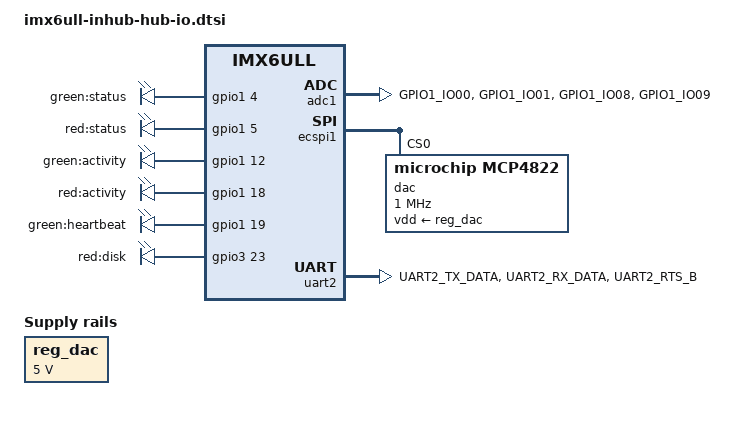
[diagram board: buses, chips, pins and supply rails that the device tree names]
// SPDX-License-Identifier: GPL-2.0-only
/*
 * Copyright 2025 in.hub GmbH
 */

/ {
	leds {
		compatible = "gpio-leds";
		pinctrl-names = "default";
		pinctrl-0 = <&pinctrl_leds>;

		led_green_status: green-status {
			label = "green:status";
			gpios = <&gpio1 4 0x0>;
			default-state = "off";
		};

		led_red_status: red-status {
			label = "red:status";
			gpios = <&gpio1 5 0x0>;
			default-state = "off";
		};

		led_green_activity: green-activity {
			label = "green:activity";
			gpios = <&gpio1 12 0x0>;
			default-state = "off";
		};

		led_red_activity: red-activity {
			label = "red:activity";
			gpios = <&gpio1 18 0x0>;
			default-state = "off";
		};

		led_green_heartbeat: green-heartbeat {
			label = "green:heartbeat";
			gpios = <&gpio1 19 0x0>;
			linux,default-trigger = "timer";
		};

		led_red_disk: red-disk  {
			label = "red:disk";
			gpios = <&gpio3 23 0x0>;
			default-state = "off";
		};
	};

	reg_dac: regulator-dac {
		compatible = "regulator-fixed";
		regulator-name = "dac_vdd";
		regulator-min-microvolt = <5000000>;
		regulator-max-microvolt = <5000000>;
	};
};

&iomuxc {
	pinctrl-0 = <&pinctrl_gpio3 &pinctrl_gpio_dac &pinctrl_gpio_io1 &pinctrl_gpio_io2 &pinctrl_gpio_io3 &pinctrl_gpio_io4 &pinctrl_gpio_io5 &pinctrl_gpio_io6 &pinctrl_gpio_di &pinctrl_bp_ctrl>;

	pinctrl_leds: ledsgrp {
		fsl,pins = <
			MX6UL_PAD_UART1_RTS_B__GPIO1_IO19	0x74 /* SODIMM 27 – LED1G */
			MX6UL_PAD_LCD_DATA18__GPIO3_IO23	0x74 /* SODIMM 29 – LED1R */
			MX6UL_PAD_JTAG_TDO__GPIO1_IO12		0x74 /* SODIMM 23 – LED2G */
			MX6UL_PAD_UART1_CTS_B__GPIO1_IO18	0x74 /* SODIMM 25 – LED2R */
			MX6UL_PAD_GPIO1_IO04__GPIO1_IO04	0x74 /* SODIMM 19 – LED3G */
			MX6UL_PAD_GPIO1_IO05__GPIO1_IO05	0x74 /* SODIMM 21 – LED3R */
		>;
	};

	pinctrl_gpio_io3: io3grp {
		fsl,pins = <
			MX6UL_PAD_LCD_DATA10__GPIO3_IO15	0x1030 /* SODIMM 74 – ACUREN3 */
			MX6UL_PAD_LCD_DATA04__GPIO3_IO09	0xf0b0 /* SODIMM 78 – AFLT3 */
			MX6UL_PAD_CSI_DATA01__GPIO4_IO22	0xf0b0 /* SODIMM 103 – FLT3 */
			MX6UL_PAD_NAND_CE1_B__GPIO4_IO14	0x1030 /* SODIMM 133 – DOUT3 / IN */
			MX6UL_PAD_ENET1_RX_EN__GPIO2_IO02	0x1030 /* SODIMM 178 – DOEN3 / PP */
		>;
	};

	pinctrl_gpio_io4: io4grp {
		fsl,pins = <
			MX6UL_PAD_JTAG_MOD__GPIO1_IO10		0x1030 /* SODIMM 106 – ACUREN4 */
			MX6UL_PAD_LCD_DATA06__GPIO3_IO11	0xf0b0 /* SODIMM 80 – AFLT4 */
			MX6UL_PAD_LCD_DATA15__GPIO3_IO20	 0xf0b0 /* SODIMM 64  – FLT4 */
			MX6UL_PAD_LCD_DATA14__GPIO3_IO19	 0xf0b0 /* SODIMM 66  – DIN4 / DOI_LVL */
			MX6UL_PAD_LCD_HSYNC__GPIO3_IO02		 0x1030 /* SODIMM 68  – PDEN4 / DI_EN */
			MX6UL_PAD_LCD_DATA01__GPIO3_IO06	 0x1030 /* SODIMM 70  – DOUT4 / IN */
			MX6UL_PAD_LCD_DATA05__GPIO3_IO10	 0x1030 /* SODIMM 72  – DOEN4 / PP */
		>;
	};

	pinctrl_gpio_io5: io5grp {
		fsl,pins = <
			MX6UL_PAD_LCD_DATA13__GPIO3_IO18	0xf0b0 /* SODIMM 54 – FLT5 */
			MX6UL_PAD_LCD_CLK__GPIO3_IO00		0xf0b0 /* SODIMM 56 – DIN5 / DOI_LVL */
			MX6UL_PAD_LCD_DATA03__GPIO3_IO08	0x1030 /* SODIMM 58 – PDEN5 / DI_EN */
			MX6UL_PAD_LCD_DATA02__GPIO3_IO07	0x1030 /* SODIMM 60 – DOUT5 / IN */
			MX6UL_PAD_LCD_DATA08__GPIO3_IO13	0x1030 /* SODIMM 62 – DOEN5 / PP */
		>;
	};

	pinctrl_gpio_io6: io6grp {
		fsl,pins = <
			MX6UL_PAD_LCD_ENABLE__GPIO3_IO01	0xf0b0 /* SODIMM 44 – FLT6 */
			MX6UL_PAD_LCD_DATA07__GPIO3_IO12	0xf0b0 /* SODIMM 46 – DIN6 / DOI_LVL */
			MX6UL_PAD_LCD_DATA09__GPIO3_IO14	0x1030 /* SODIMM 48 – PDEN6 / DI_EN */
			MX6UL_PAD_LCD_DATA11__GPIO3_IO16	0x1030 /* SODIMM 50 – DOUT6 / IN */
			MX6UL_PAD_LCD_DATA12__GPIO3_IO17	0x1030 /* SODIMM 52 – DOEN6 / PP */
		>;
	};

	pinctrl_gpio_di: digrp {
		fsl,pins = <
			MX6UL_PAD_LCD_DATA17__GPIO3_IO22		0xf0b0 /* SODIMM 61 – DI1 */
			MX6UL_PAD_ENET1_RX_DATA1__GPIO2_IO01	0xf0b0 /* SODIMM 63 – DI2 */
			MX6UL_PAD_ENET1_TX_CLK__GPIO2_IO06		0xf0b0 /* SODIMM 67 – DI4 */
			MX6UL_PAD_ENET1_RX_DATA0__GPIO2_IO00	0xf0b0 /* SODIMM 55 – DI5 */
		>;
	};

	pinctrl_bp_uart: bpuartgrp {
		fsl,pins = <
			MX6UL_PAD_UART2_TX_DATA__UART2_DTE_RX	0x1b0b1 /* SODIMM 36 / RXBP */
			MX6UL_PAD_UART2_RX_DATA__UART2_DTE_TX	0x1b0b1 /* SODIMM 38 / TXBP */
			MX6UL_PAD_UART2_RTS_B__UART2_DTE_CTS	0x1b0b1 /* SODIMM 34 / RTS */
		>;
	};

	pinctrl_bp_ctrl: bpctrlgrp {
		fsl,pins = <
			MX6UL_PAD_SD1_DATA0__GPIO2_IO18			0x1030 /* SODIMM 192 / ENBP */
			MX6UL_PAD_UART3_RTS_B__GPIO1_IO27		0xf0b0 /* SODIMM 186 / MDBP (module detection) */
		>;
	};

	pinctrl_adc1_nopd: adc1nopdgrp {
		fsl,pins = <
			MX6UL_PAD_GPIO1_IO00__GPIO1_IO00	0x00 /* SODIMM 8 - ADCx_IN0 */
			MX6UL_PAD_GPIO1_IO01__GPIO1_IO01	0x00 /* SODIMM 6 - ADCx_IN1 */
			MX6UL_PAD_GPIO1_IO08__GPIO1_IO08	0x00 /* SODIMM 4 - ADCx_IN8 */
			MX6UL_PAD_GPIO1_IO09__GPIO1_IO09	0x00 /* SODIMM 2 - ADCx_IN9 */
		>;
	};
};

&iomuxc_snvs {
	pinctrl-names = "default";
	pinctrl-0 = <&pinctrl_snvs_gpio_io2 &pinctrl_snvs_gpio_io3 &pinctrl_snvs_gpio_di>;

	/delete-node/ adc1grp;

	pinctrl_snvs_gpio_io2: snvsio3grp {
		fsl,pins = <
			MX6ULL_PAD_SNVS_TAMPER8__GPIO5_IO08	0x1030 /* SODIMM 138 – PDEN2 / DI_EN */
		>;
	};

	pinctrl_snvs_gpio_io3: snvsio3grp {
		fsl,pins = <
			MX6ULL_PAD_SNVS_TAMPER6__GPIO5_IO06	0xf0b0 /* SODIMM 93 – DIN3 / DOI_LVL */
			MX6ULL_PAD_SNVS_TAMPER4__GPIO5_IO04	0x1030 /* SODIMM 107 – PDEN3 / DI_EN */
		>;
	};

	pinctrl_snvs_gpio_di: snvsdigrp {
		fsl,pins = <
			MX6ULL_PAD_SNVS_TAMPER1__GPIO5_IO01		0xf0b0 /* SODIMM 45 - DI3 */
			MX6UL_PAD_SNVS_TAMPER0__GPIO5_IO00		0xf0b0 /* SODIMM 43 – DI6 */
		>;
	};

};

&adc1 {
	status = "okay";
	pinctrl-0 = <&pinctrl_adc1_nopd>;
};

&ecspi1 {
	status = "okay";

	dac@0 {
		compatible = "microchip,mcp4822";
		reg = <0>;
		spi-max-frequency = <1000000>;
		vdd-supply = <&reg_dac>;
	};
};

&uart2 {
	pinctrl-names = "default";
	pinctrl-0 = <&pinctrl_bp_uart>;
	linux,rs485-enabled-at-boot-time;
	uart-has-rtscts;
	fsl,dte-mode;
	status = "okay";
};
